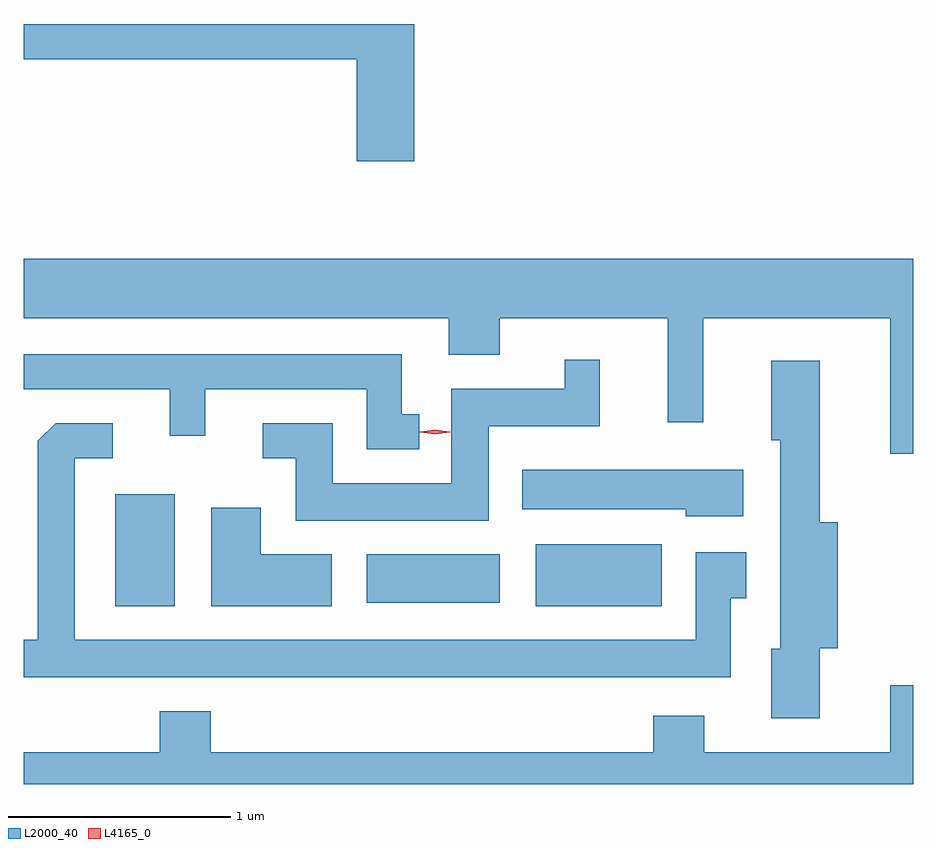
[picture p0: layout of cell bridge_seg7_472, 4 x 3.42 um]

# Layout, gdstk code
import gdstk
lib = gdstk.Library(unit=1e-6, precision=1e-09)
def R(c, l, rs):  # rectangles x0, y0, x1, y1
    for r in rs: c.add(gdstk.rectangle(r[:2], r[2:], *l))
def P(c, l, *ps):  # polygons
    for p in ps: c.add(gdstk.Polygon(p, *l))
L2000_40 = (2000, 40)
L4165_0 = (4165, 0)

bridge_seg7_472 = lib.new_cell('bridge_seg7_472')
R(bridge_seg7_472, L2000_40, [(1250.551,1699.701,1250.819,1700.204), (1252.441,1699.701,1253.009,1699.979), (1251.681,1699.716,1252.279,1699.934)])
P(bridge_seg7_472, L2000_40, [(1251.894,1702.319),(1250.139,1702.319),(1250.139,1702.161),(1251.636,1702.161),(1251.636,1701.701),(1251.894,1701.701)],
  [(1254.139,1701.264),(1250.139,1701.264),(1250.139,1700.996),(1252.051,1700.996),(1252.051,1700.831),(1252.279,1700.831),(1252.279,1700.996),(1253.036,1700.996),(1253.036,1700.528),(1253.194,1700.528),(1253.194,1700.996),(1254.036,1700.996),(1254.036,1700.386),(1254.139,1700.386)],
  [(1251.918,1700.564),(1251.839,1700.564),(1251.839,1700.834),(1250.139,1700.834),(1250.139,1700.676),(1250.796,1700.676),(1250.796,1700.468),(1250.954,1700.468),(1250.954,1700.676),(1251.681,1700.676),(1251.681,1700.406),(1251.918,1700.406)],
  [(1252.229,1700.511),(1252.729,1700.511),(1252.729,1700.808),(1252.571,1700.808),(1252.571,1700.679),(1252.061,1700.679),(1252.061,1700.254),(1251.529,1700.254),(1251.529,1700.524),(1251.213,1700.524),(1251.213,1700.366),(1251.361,1700.366),(1251.361,1700.086),(1252.229,1700.086)],
  [(1253.719,1699.511),(1253.799,1699.511),(1253.799,1700.079),(1253.719,1700.079),(1253.719,1700.804),(1253.501,1700.804),(1253.501,1700.446),(1253.541,1700.446),(1253.541,1699.509),(1253.501,1699.509),(1253.501,1699.196),(1253.719,1699.196)],
  [(1253.319,1699.736),(1253.389,1699.736),(1253.389,1699.944),(1253.161,1699.944),(1253.161,1699.549),(1250.369,1699.549),(1250.369,1700.366),(1250.538,1700.366),(1250.538,1700.524),(1250.282,1700.524),(1250.201,1700.444),(1250.201,1699.549),(1250.139,1699.549),(1250.139,1699.381),(1253.319,1699.381)],
  [(1253.374,1700.314),(1252.381,1700.314),(1252.381,1700.136),(1253.116,1700.136),(1253.116,1700.106),(1253.374,1700.106)],
  [(1251.524,1699.934),(1251.204,1699.934),(1251.204,1700.144),(1250.981,1700.144),(1250.981,1699.701),(1251.524,1699.701)],
  [(1254.139,1699.344),(1254.036,1699.344),(1254.036,1699.044),(1253.199,1699.044),(1253.199,1699.209),(1252.971,1699.209),(1252.971,1699.044),(1250.979,1699.044),(1250.979,1699.229),(1250.751,1699.229),(1250.751,1699.044),(1250.139,1699.044),(1250.139,1698.901),(1254.139,1698.901)])
P(bridge_seg7_472, L4165_0, [(1251.988,1700.475),(1251.919,1700.484),(1251.919,1700.485),(1251.919,1700.485),(1251.988,1700.495),(1252.058,1700.485),(1252.058,1700.485),(1252.058,1700.484)])

lib.write_gds('bridge_seg7_472.gds')
